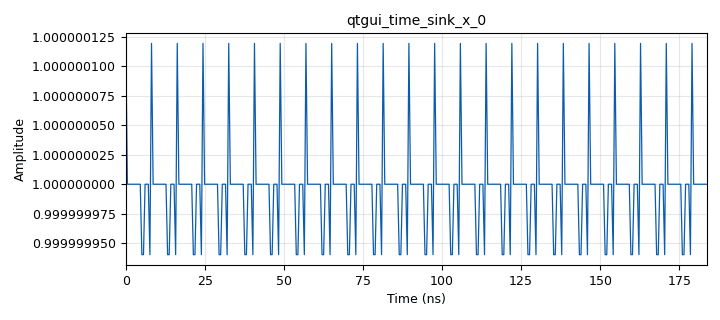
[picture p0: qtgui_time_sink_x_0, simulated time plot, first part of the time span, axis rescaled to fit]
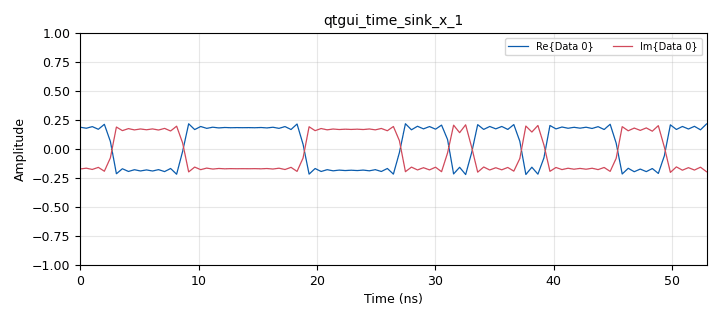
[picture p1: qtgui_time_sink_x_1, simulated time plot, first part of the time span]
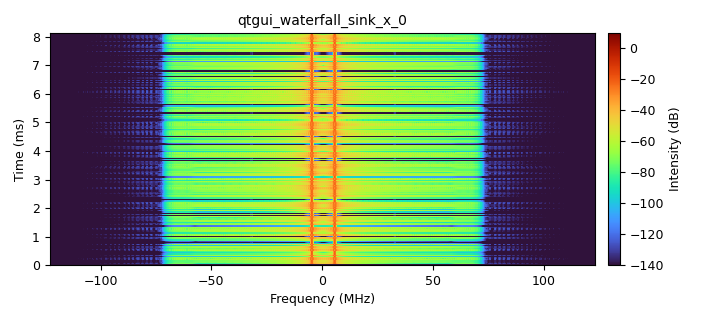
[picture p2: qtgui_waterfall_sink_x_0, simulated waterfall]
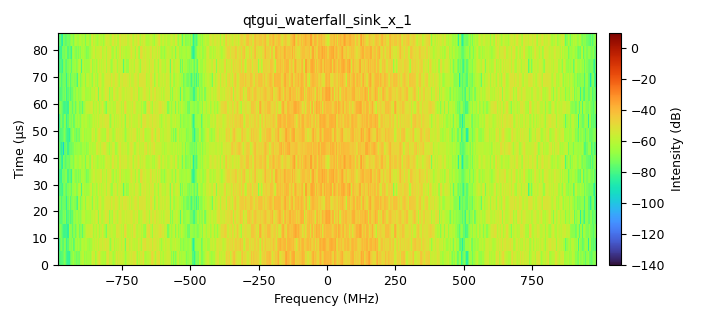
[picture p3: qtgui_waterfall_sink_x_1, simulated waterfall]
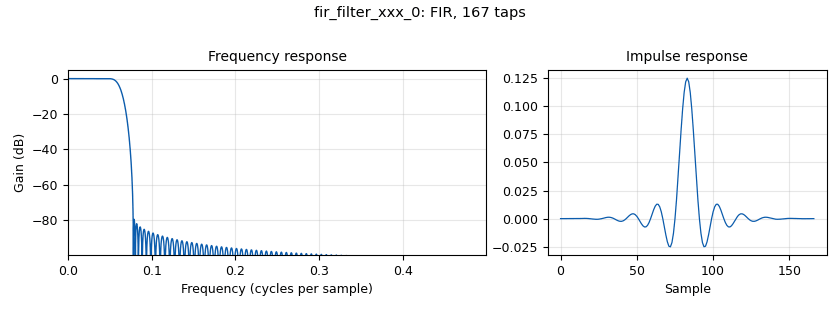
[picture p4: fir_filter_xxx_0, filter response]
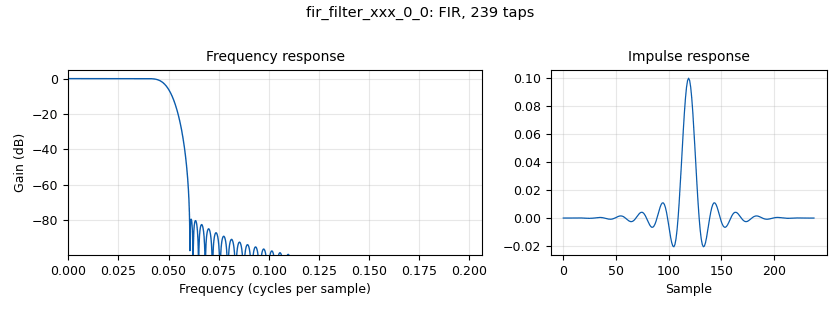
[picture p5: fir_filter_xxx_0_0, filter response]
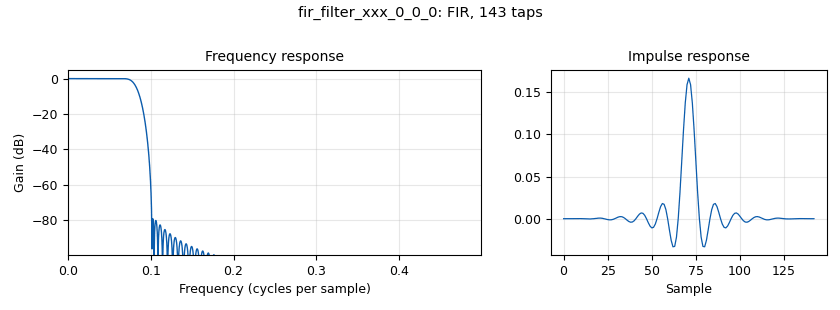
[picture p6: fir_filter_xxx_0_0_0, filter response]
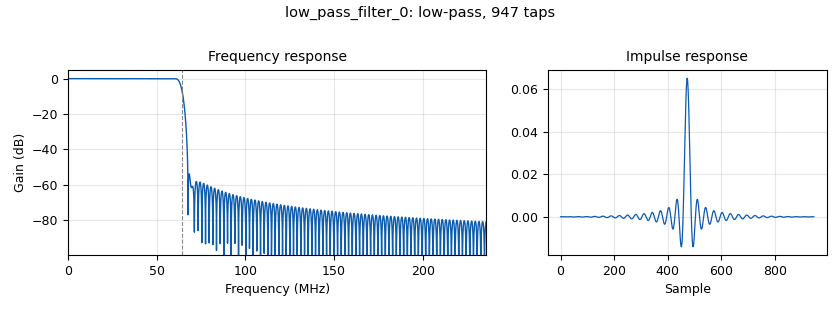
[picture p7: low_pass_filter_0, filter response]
options:
  parameters:
    generate_options: qt_gui
    id: test_filtering
    output_language: python
    title: Not titled yet
  states: {}

blocks:
- name: interpolation_factor
  id: variable
  parameters:
    value: samp_rate // 1024000
  states: {}
- name: samp_rate
  id: variable
  parameters:
    value: '1966080000'
  states: {}
- name: analog_sig_source_x_0
  id: analog_sig_source_x
  parameters:
    amp: '1'
    freq: '3700000000'
    offset: '0'
    phase: '0'
    samp_rate: samp_rate
    type: float
    waveform: analog.GR_COS_WAVE
  states: {}
- name: analog_sig_source_x_0_0
  id: analog_sig_source_x
  parameters:
    amp: '1'
    freq: '5000000'
    offset: '0'
    phase: '0'
    samp_rate: samp_rate/8
    type: float
    waveform: analog.GR_COS_WAVE
  states: {}
- name: analog_sig_source_x_0_0_0
  id: analog_sig_source_x
  parameters:
    amp: '1'
    freq: '5000000'
    offset: '0'
    phase: '0'
    samp_rate: samp_rate/8
    type: float
    waveform: analog.GR_SIN_WAVE
  states: {}
- name: analog_sig_source_x_0_1
  id: analog_sig_source_x
  parameters:
    amp: '1'
    freq: '3705000000'
    offset: '0'
    phase: '0'
    samp_rate: samp_rate
    type: float
    waveform: analog.GR_COS_WAVE
  states: {}
- name: blocks_complex_to_float_0
  id: blocks_complex_to_float
  parameters:
    vlen: '4096'
  states: {state: disabled}
- name: blocks_delay_0
  id: blocks_delay
  parameters:
    delay: '50000'
    type: float
  states: {}
- name: blocks_file_sink_0
  id: blocks_file_sink
  parameters:
    file: i_test_data
    type: float
    vlen: '4096'
  states: {state: disabled}
- name: blocks_file_sink_0_0
  id: blocks_file_sink
  parameters:
    file: q_test_data
    type: float
    vlen: '4096'
  states: {state: disabled}
- name: blocks_float_to_complex_0
  id: blocks_float_to_complex
  parameters: {}
  states: {}
- name: blocks_head_0
  id: blocks_head
  parameters:
    num_items: '3'
    type: complex
    vlen: '4096'
  states: {state: disabled}
- name: blocks_multiply_const_vxx_0
  id: blocks_multiply_const_vxx
  parameters:
    const: '-1'
    type: float
  states: {}
- name: blocks_multiply_xx_0
  id: blocks_multiply_xx
  parameters:
    type: float
  states: {}
- name: blocks_multiply_xx_0_0
  id: blocks_multiply_xx
  parameters:
    type: float
  states: {}
- name: blocks_multiply_xx_0_0_0
  id: blocks_multiply_xx
  parameters:
    type: float
  states: {}
- name: blocks_multiply_xx_0_1
  id: blocks_multiply_xx
  parameters:
    type: float
  states: {}
- name: blocks_repeat_0
  id: blocks_repeat
  parameters:
    interp: interpolation_factor
    type: float
  states: {}
- name: blocks_stream_to_vector_0
  id: blocks_stream_to_vector
  parameters:
    num_items: '4096'
    type: complex
  states: {state: disabled}
- name: blocks_vector_source_x_0
  id: blocks_vector_source_x
  parameters:
    repeat: 'True'
    type: float
    vector: |
      [-1, -1, -1, 1, -1, 1, 1, -1, 1, 1, 1, -1, 1, -1, -1, -1, -1, -1, 1, 1, 1, 1, -1, 1, 1, -1, 1, 1, 1, -1, 1, 1, 1, 1, -1, -1, 1, -1, -1, 1, 1, 1, -1, -1, 1, 1, -1, 1, 1, 1, 1, -1, 1, -1, -1, 1, -1, 1, -1, -1, 1, -1, -1, 1, 1, 1, 1, 1, 1, 1, -1, 1, -1, 1, 1, -1, 1, 1, 1, -1, 1, -1, 1, 1, 1, 1, 1, 1, 1, 1, -1, -1, 1, 1, -1, -1, 1, -1, -1, 1, -1, -1, -1, 1, 1, 1, -1, -1, -1, 1, -1, -1, 1, -1, -1, 1, 1, -1, -1, 1, 1, -1, 1, 1, -1, -1, 1, 1, -1, 1, -1, 1, 1, -1, -1, -1, 1, -1, 1, 1, 1, -1, 1, -1, -1, 1, -1, 1, 1, 1, 1, -1, 1, -1, -1, -1, 1, -1, -1, -1, -1, 1, 1, 1, 1, -1, -1, -1, 1, 1, -1, 1, 1, -1, -1, -1, -1, -1, 1, 1, 1, -1, -1, -1, 1, -1, 1, 1, 1, -1, -1, 1, -1, 1, 1, 1, -1, -1, -1, 1, 1, 1, -1, 1, -1, 1, -1, -1, 1, -1, 1, 1, 1, 1, -1, -1, -1, -1, -1, 1, -1, -1, -1, 1, 1, 1, -1, 1, 1, -1, 1, 1, 1, 1, -1, 1, 1, -1, -1, -1, 1, 1, -1, 1, -1, 1, -1, 1, 1, -1, -1, 1, -1, -1, -1, 1, 1, -1, 1, 1, 1, -1, -1, -1, -1, -1, -1, -1, -1, 1, -1, -1, 1, 1, -1, 1, 1, 1, 1, 1, -1, 1, 1, 1, 1, 1, -1, -1, 1, 1, 1, -1, 1, 1, -1, 1, 1, -1, 1, -1, -1, 1, 1, 1, 1, 1, -1, -1, -1, 1, 1, -1, -1, -1, -1, -1, -1, 1, -1, 1, 1, 1, 1, -1, -1, -1, 1, 1, 1, 1, 1, -1, -1, -1, -1, 1, 1, -1, 1, 1, -1, 1, 1, 1, -1, -1, 1, 1, -1, -1, -1, -1, 1, -1, -1, -1, -1, -1, -1, 1, -1, 1, -1, -1, -1, 1, 1, -1, 1, -1, -1, -1, -1, -1, -1, -1, 1, 1, 1, 1, 1, -1, -1, -1, -1, 1, -1, 1, -1, -1, 1, -1, -1, -1, -1, 1, -1, -1, -1, -1, -1, 1, 1, -1, -1, 1, -1, 1, -1, 1, -1, -1, 1, -1, 1, 1, 1, -1, 1, -1, -1, 1, -1, 1, -1, -1, 1, 1, -1, 1, 1, 1, -1, 1, 1, 1, 1, 1, 1, -1, 1, 1, 1, 1, 1, -1, 1, 1, -1, -1, 1, 1, 1, 1, -1, -1, -1, 1, 1, -1, -1, 1, 1, 1, -1, 1, 1, 1, 1, 1, -1, -1, 1, -1, -1, 1, -1, 1, -1, 1, 1, -1, -1, 1, 1, 1, -1, -1, 1, 1, -1, 1, 1, -1, 1, 1, 1, -1, -1, -1, -1, 1, 1, -1, -1, 1, -1, 1, -1, -1, 1, -1, 1, 1, -1, 1, 1, -1, 1, 1, -1, 1, -1, -1, -1, -1, -1, -1, -1, 1, 1, -1, -1, 1, 1, 1, -1, -1, 1, -1, 1, 1, -1, -1, -1, -1, -1, -1, -1, -1, 1, -1, -1, 1, -1, -1, 1, 1, -1, -1, 1, -1, 1, 1, 1, -1, 1, 1, 1, 1, 1, 1, 1, 1, -1, 1, -1, 1, 1, -1, -1, 1, -1, -1, -1, -1, -1, 1, 1, 1, -1, -1, 1, -1, -1, 1, -1, -1, -1, -1, -1, 1, 1, 1, 1, -1, -1, 1, 1, 1, 1, -1, 1, -1, -1, -1, -1, -1, -1, -1, 1, -1, 1, -1, -1, -1, -1, 1, -1, -1, 1, 1, -1, -1, 1, 1, -1, 1, -1, 1, 1, -1, -1, -1, -1, -1, 1, -1, 1, -1, -1, 1, 1, -1, 1, 1, 1, 1, -1, 1, -1, 1, 1, 1, -1, 1, 1, -1, 1, 1, -1, -1, -1, -1, -1, -1, 1, 1, -1, 1, -1, -1, -1, 1, -1, 1, 1, -1, -1, 1, -1, -1, 1, -1, -1, 1, 1, 1, 1, 1, 1, 1, 1, 1, 1, -1, -1, -1, -1, 1, 1, 1, -1, 1, 1, -1, 1, 1, 1, -1, -1, 1, 1, -1, 1, 1, 1, 1, 1, 1, -1, -1, -1, 1, -1, 1, -1, -1, -1, -1, -1, 1, -1, -1, 1, 1, -1, 1, 1, -1, 1, -1, 1, 1, 1, 1, 1, 1, -1, 1, 1, -1, -1, 1, -1, -1, -1, -1, -1, -1, 1, -1, -1, 1, 1, -1, 1, -1, -1, 1, -1, 1, -1, -1, -1, -1, -1, -1, -1, 1, 1, 1, 1, -1, -1, -1, -1, 1, 1, -1, 1, 1, 1, -1, 1, 1, -1, 1, 1, 1, 1, -1, -1, 1, -1, -1, -1, 1, 1, -1, 1, -1, -1, -1, 1, 1, 1, 1, 1, -1, 1, 1, 1, 1, 1, 1, -1, -1, 1, 1, -1, 1, -1, 1, 1, 1, 1, -1, 1, 1, 1, 1, -1, -1, 1, -1, 1, 1, 1, -1, 1, 1, -1, -1, 1, -1, 1, 1, -1, 1, 1, 1, 1, -1, -1, -1, 1, 1, -1, -1, 1, 1, -1, 1, -1, -1, 1, -1, 1, 1, -1, 1, -1, -1, -1, 1, -1, 1, -1, 1, -1, -1, 1, -1, -1, 1, -1, 1, -1, 1, -1, -1, -1, -1, 1, -1, -1, 1, 1, -1, -1, 1, 1, 1, -1, 1, -1, 1, -1, -1, -1, 1, 1, -1, 1, 1, -1, -1, -1, -1, 1, 1, -1, 1, 1, -1, -1, 1, 1, 1, 1, -1, 1, -1, -1, -1, 1, 1, -1, 1, -1, 1, -1, -1, -1, 1, -1, 1, 1, -1, -1, 1, -1, -1, -1, -1, -1, -1, -1, -1, 1, 1, -1, 1, 1, 1, -1, 1, -1, -1, -1, 1, 1, -1, -1, 1, 1, -1, -1, 1, 1, 1, -1, -1, -1, 1, -1, -1, 1, 1, -1, -1, -1, 1, -1, -1, -1, 1, -1, 1, -1, 1, -1]
  states: {}
- name: fft_vxx_0
  id: fft_vxx
  parameters:
    fft_size: '4096'
    forward: 'True'
    shift: 'True'
    type: complex
    window: window.blackmanharris(4096)
  states: {state: disabled}
- name: fir_filter_xxx_0
  id: fir_filter_xxx
  parameters:
    decim: '8'
    taps: " [9.49889021e-06,  1.03383495e-05,  7.58177160e-06,\n        -3.17864516e-20, -1.26888383e-05, -2.93671118e-05,\n        -4.73005830e-05, -6.22848169e-05, -6.92244940e-05,\n        -6.31239657e-05, -4.03593638e-05,  1.36303765e-19,\n         5.51245288e-05,  1.17931368e-04,  1.77430747e-04,\n         2.20048546e-04,  2.31873646e-04,  2.01560110e-04,\n         1.23407922e-04, -3.56128437e-19, -1.56268583e-04,\n        -3.23341113e-04, -4.71669050e-04, -5.68390383e-04,\n        -5.83088897e-04, -4.94297704e-04, -2.95595024e-04,\n         7.30034939e-19,  3.58529515e-04,  7.27344718e-04,\n         1.04136627e-03,  1.23289059e-03,  1.24370707e-03,\n         1.03763387e-03,  6.11178236e-04, -1.27527875e-18,\n        -7.20733813e-04, -1.44317978e-03, -2.04074430e-03,\n        -2.38768775e-03, -2.38172653e-03, -1.96599818e-03,\n        -1.14632930e-03,  1.97423867e-18,  1.32682113e-03,\n         2.63417169e-03,  3.69505708e-03,  4.29083059e-03,\n         4.25020897e-03,  3.48563261e-03,  2.02030658e-03,\n        -2.76848035e-18, -2.31445923e-03, -4.57527020e-03,\n        -6.39425910e-03, -7.40253983e-03, -7.31491752e-03,\n        -5.98891968e-03, -3.46802129e-03,  3.56385918e-18,\n         3.97563977e-03,  7.87292944e-03,  1.10341087e-02,\n         1.28254153e-02,  1.27415099e-02,  1.05034271e-02,\n         6.13442967e-03, -4.24696248e-18, -7.19768172e-03,\n        -1.44745008e-02, -2.06652012e-02, -2.45600204e-02,\n        -2.50610191e-02, -2.13379741e-02, -1.29624024e-02,\n         4.70933148e-18,  1.69535859e-02,  3.68017265e-02,\n         5.80401381e-02,  7.89054427e-02,  9.75620567e-02,\n         1.12304839e-01,  1.21752223e-01,  1.25005279e-01,\n         1.21752223e-01,  1.12304839e-01,  9.75620567e-02,\n         7.89054427e-02,  5.80401381e-02,  3.68017265e-02,\n         1.69535859e-02,  4.70933148e-18, -1.29624024e-02,\n        -2.13379741e-02, -2.50610191e-02, -2.45600204e-02,\n        -2.06652012e-02, -1.44745008e-02, -7.19768172e-03,\n        -4.24696248e-18,  6.13442967e-03,  1.05034271e-02,\n         1.27415099e-02,  1.28254153e-02,  1.10341087e-02,\n         7.87292944e-03,  3.97563977e-03,  3.56385918e-18,\n        -3.46802129e-03, -5.98891968e-03, -7.31491752e-03,\n        -7.40253983e-03, -6.39425910e-03, -4.57527020e-03,\n        -2.31445923e-03, -2.76848035e-18,  2.02030658e-03,\n         3.48563261e-03,  4.25020897e-03,  4.29083059e-03,\n         3.69505708e-03,  2.63417169e-03,  1.32682113e-03,\n         1.97423867e-18, -1.14632930e-03, -1.96599818e-03,\n        -2.38172653e-03, -2.38768775e-03, -2.04074430e-03,\n        -1.44317978e-03, -7.20733813e-04, -1.27527875e-18,\n         6.11178236e-04,  1.03763387e-03,  1.24370707e-03,\n         1.23289059e-03,  1.04136627e-03,  7.27344718e-04,\n         3.58529515e-04,  7.30034939e-19, -2.95595024e-04,\n        -4.94297704e-04, -5.83088897e-04, -5.68390383e-04,\n        -4.71669050e-04, -3.23341113e-04, -1.56268583e-04,\n        -3.56128437e-19,  1.23407922e-04,  2.01560110e-04,\n         2.31873646e-04,  2.20048546e-04,  1.77430747e-04,\n         1.17931368e-04,  5.51245288e-05,  1.36303765e-19,\n        -4.03593638e-05, -6.31239657e-05, -6.92244940e-05,\n        -6.22848169e-05, -4.73005830e-05, -2.93671118e-05,\n        -1.26888383e-05, -3.17864516e-20,  7.58177160e-06,\n         1.03383495e-05,  9.49889021e-06]"
    type: fff
  states: {}
- name: fir_filter_xxx_0_0
  id: fir_filter_xxx
  parameters:
    decim: '10'
    taps: |-
      [-2.21595576e-06, -5.42064383e-06, -9.34629496e-06,
              -1.34910721e-05, -1.71442015e-05, -1.94531899e-05,
              -1.95311881e-05, -1.65957434e-05, -1.01235121e-05,
               1.84967063e-19,  1.33598816e-05,  2.89448722e-05,
               4.51550627e-05,  5.98981689e-05,  7.07779380e-05,
               7.53655741e-05,  7.15315430e-05,  5.78025205e-05,
               3.36985013e-05, -1.47685266e-19, -4.11037363e-05,
              -8.60267091e-05, -1.29984840e-04, -1.67387229e-04,
              -1.92401317e-04, -1.99647401e-04, -1.84953999e-04,
              -1.46087047e-04, -8.33558775e-05,  3.22162463e-19,
               9.77257687e-05,  2.00824376e-04,  2.98207613e-04,
               3.77700731e-04,  4.27328807e-04,  4.36768375e-04,
               3.98811523e-04,  3.10667460e-04,  1.74922865e-04,
              -5.93320870e-19, -2.00009027e-04, -4.06194369e-04,
              -5.96355604e-04, -7.47111069e-04, -8.36416206e-04,
              -8.46248457e-04, -7.65167449e-04, -5.90439122e-04,
              -3.29426459e-04,  9.69121292e-19,  3.70193881e-04,
               7.45655839e-04,  1.08606534e-03,  1.35020322e-03,
               1.50042147e-03,  1.50721718e-03,  1.35340836e-03,
               1.03740086e-03,  5.75084211e-04, -1.44113997e-18,
              -6.38417149e-04, -1.27853142e-03, -1.85192169e-03,
              -2.29010068e-03, -2.53193129e-03, -2.53099765e-03,
              -2.26212161e-03, -1.72623118e-03, -9.52891703e-04,
               1.98194664e-18,  1.04959729e-03,  2.09448934e-03,
               3.02368849e-03,  3.72750064e-03,  4.10929335e-03,
               4.09699185e-03,  3.65305828e-03,  2.78175982e-03,
               1.53271360e-03, -2.54634687e-18, -1.68346077e-03,
              -3.35610459e-03, -4.84183852e-03, -5.96696011e-03,
              -6.57838330e-03, -6.56141445e-03, -5.85522269e-03,
              -4.46423115e-03, -2.46392349e-03,  3.07679072e-18,
               2.71960348e-03,  5.43965134e-03,  7.87861712e-03,
               9.75422339e-03,  1.08114149e-02,  1.08502795e-02,
               9.75125753e-03,  7.49505133e-03,  4.17497003e-03,
              -3.51218800e-18, -4.71235686e-03, -9.55355279e-03,
              -1.40509099e-02, -1.77022129e-02, -2.00154198e-02,
              -2.05503378e-02, -1.89587768e-02, -1.50196582e-02,
              -8.66584054e-03,  3.79841664e-18,  1.07022512e-02,
               2.30028026e-02,  3.63246999e-02,  4.99875470e-02,
               6.32521509e-02,  7.53710675e-02,  8.56411375e-02,
               9.34538641e-02,  9.83395949e-02,  1.00001936e-01,
               9.83395949e-02,  9.34538641e-02,  8.56411375e-02,
               7.53710675e-02,  6.32521509e-02,  4.99875470e-02,
               3.63246999e-02,  2.30028026e-02,  1.07022512e-02,
               3.79841664e-18, -8.66584054e-03, -1.50196582e-02,
              -1.89587768e-02, -2.05503378e-02, -2.00154198e-02,
              -1.77022129e-02, -1.40509099e-02, -9.55355279e-03,
              -4.71235686e-03, -3.51218800e-18,  4.17497003e-03,
               7.49505133e-03,  9.75125753e-03,  1.08502795e-02,
               1.08114149e-02,  9.75422339e-03,  7.87861712e-03,
               5.43965134e-03,  2.71960348e-03,  3.07679072e-18,
              -2.46392349e-03, -4.46423115e-03, -5.85522269e-03,
              -6.56141445e-03, -6.57838330e-03, -5.96696011e-03,
              -4.84183852e-03, -3.35610459e-03, -1.68346077e-03,
              -2.54634687e-18,  1.53271360e-03,  2.78175982e-03,
               3.65305828e-03,  4.09699185e-03,  4.10929335e-03,
               3.72750064e-03,  3.02368849e-03,  2.09448934e-03,
               1.04959729e-03,  1.98194664e-18, -9.52891703e-04,
              -1.72623118e-03, -2.26212161e-03, -2.53099765e-03,
              -2.53193129e-03, -2.29010068e-03, -1.85192169e-03,
              -1.27853142e-03, -6.38417149e-04, -1.44113997e-18,
               5.75084211e-04,  1.03740086e-03,  1.35340836e-03,
               1.50721718e-03,  1.50042147e-03,  1.35020322e-03,
               1.08606534e-03,  7.45655839e-04,  3.70193881e-04,
               9.69121292e-19, -3.29426459e-04, -5.90439122e-04,
              -7.65167449e-04, -8.46248457e-04, -8.36416206e-04,
              -7.47111069e-04, -5.96355604e-04, -4.06194369e-04,
              -2.00009027e-04, -5.93320870e-19,  1.74922865e-04,
               3.10667460e-04,  3.98811523e-04,  4.36768375e-04,
               4.27328807e-04,  3.77700731e-04,  2.98207613e-04,
               2.00824376e-04,  9.77257687e-05,  3.22162463e-19,
              -8.33558775e-05, -1.46087047e-04, -1.84953999e-04,
              -1.99647401e-04, -1.92401317e-04, -1.67387229e-04,
              -1.29984840e-04, -8.60267091e-05, -4.11037363e-05,
              -1.47685266e-19,  3.36985013e-05,  5.78025205e-05,
               7.15315430e-05,  7.53655741e-05,  7.07779380e-05,
               5.98981689e-05,  4.51550627e-05,  2.89448722e-05,
               1.33598816e-05,  1.84967063e-19, -1.01235121e-05,
              -1.65957434e-05, -1.95311881e-05, -1.94531899e-05,
              -1.71442015e-05, -1.34910721e-05, -9.34629496e-06,
              -5.42064383e-06, -2.21595576e-06]
    type: fff
  states: {}
- name: fir_filter_xxx_0_0_0
  id: fir_filter_xxx
  parameters:
    decim: '6'
    taps: |-
      [-6.00944756e-06, -1.56264496e-05, -2.54570081e-05,
              -2.98324609e-05, -2.26099147e-05,  2.84158774e-19,
               3.65024236e-05,  7.83801618e-05,  1.10764985e-04,
               1.16107327e-04,  8.03610345e-05, -2.33963161e-19,
              -1.12689701e-04, -2.28702509e-04, -3.07533978e-04,
              -3.08417800e-04, -2.05144597e-04,  5.18520614e-19,
               2.68534641e-04,  5.28821747e-04,  6.91637229e-04,
               6.76033201e-04,  4.39059293e-04, -9.64750320e-19,
              -5.50517214e-04, -1.06320843e-03, -1.36534787e-03,
              -1.31178278e-03, -8.38265091e-04,  1.58726198e-18,
               1.02032732e-03,  1.94393641e-03,  2.46452966e-03,
               2.33934864e-03,  1.47794354e-03, -2.37307449e-18,
              -1.76182449e-03, -3.32500531e-03, -4.17830667e-03,
              -3.93353766e-03, -2.46623156e-03,  3.27688263e-18,
               2.90080862e-03,  5.44316575e-03,  6.80531464e-03,
               6.37848372e-03,  3.98443447e-03, -4.22292584e-18,
              -4.66299909e-03, -8.73903212e-03, -1.09229838e-02,
              -1.02458690e-02, -6.41273506e-03,  5.11404509e-18,
               7.56503656e-03,  1.42691993e-02,  1.79852826e-02,
               1.70512931e-02,  1.08158284e-02, -5.84666882e-18,
              -1.32429278e-02, -2.56236755e-02, -3.33366957e-02,
              -3.28861921e-02, -2.19386285e-02,  6.32879520e-18,
               3.12569825e-02,  6.81187892e-02,  1.05411856e-01,
               1.37433376e-01,  1.59041240e-01,  1.66668824e-01,
               1.59041240e-01,  1.37433376e-01,  1.05411856e-01,
               6.81187892e-02,  3.12569825e-02,  6.32879520e-18,
              -2.19386285e-02, -3.28861921e-02, -3.33366957e-02,
              -2.56236755e-02, -1.32429278e-02, -5.84666882e-18,
               1.08158284e-02,  1.70512931e-02,  1.79852826e-02,
               1.42691993e-02,  7.56503656e-03,  5.11404509e-18,
              -6.41273506e-03, -1.02458690e-02, -1.09229838e-02,
              -8.73903212e-03, -4.66299909e-03, -4.22292584e-18,
               3.98443447e-03,  6.37848372e-03,  6.80531464e-03,
               5.44316575e-03,  2.90080862e-03,  3.27688263e-18,
              -2.46623156e-03, -3.93353766e-03, -4.17830667e-03,
              -3.32500531e-03, -1.76182449e-03, -2.37307449e-18,
               1.47794354e-03,  2.33934864e-03,  2.46452966e-03,
               1.94393641e-03,  1.02032732e-03,  1.58726198e-18,
              -8.38265091e-04, -1.31178278e-03, -1.36534787e-03,
              -1.06320843e-03, -5.50517214e-04, -9.64750320e-19,
               4.39059293e-04,  6.76033201e-04,  6.91637229e-04,
               5.28821747e-04,  2.68534641e-04,  5.18520614e-19,
              -2.05144597e-04, -3.08417800e-04, -3.07533978e-04,
              -2.28702509e-04, -1.12689701e-04, -2.33963161e-19,
               8.03610345e-05,  1.16107327e-04,  1.10764985e-04,
               7.83801618e-05,  3.65024236e-05,  2.84158774e-19,
              -2.26099147e-05, -2.98324609e-05, -2.54570081e-05,
              -1.56264496e-05, -6.00944756e-06]
    type: fff
  states: {}
- name: fir_filter_xxx_0_0_0_0
  id: fir_filter_xxx
  parameters:
    decim: '6'
    taps: |-
      [-6.00944756e-06, -1.56264496e-05, -2.54570081e-05,
              -2.98324609e-05, -2.26099147e-05,  2.84158774e-19,
               3.65024236e-05,  7.83801618e-05,  1.10764985e-04,
               1.16107327e-04,  8.03610345e-05, -2.33963161e-19,
              -1.12689701e-04, -2.28702509e-04, -3.07533978e-04,
              -3.08417800e-04, -2.05144597e-04,  5.18520614e-19,
               2.68534641e-04,  5.28821747e-04,  6.91637229e-04,
               6.76033201e-04,  4.39059293e-04, -9.64750320e-19,
              -5.50517214e-04, -1.06320843e-03, -1.36534787e-03,
              -1.31178278e-03, -8.38265091e-04,  1.58726198e-18,
               1.02032732e-03,  1.94393641e-03,  2.46452966e-03,
               2.33934864e-03,  1.47794354e-03, -2.37307449e-18,
              -1.76182449e-03, -3.32500531e-03, -4.17830667e-03,
              -3.93353766e-03, -2.46623156e-03,  3.27688263e-18,
               2.90080862e-03,  5.44316575e-03,  6.80531464e-03,
               6.37848372e-03,  3.98443447e-03, -4.22292584e-18,
              -4.66299909e-03, -8.73903212e-03, -1.09229838e-02,
              -1.02458690e-02, -6.41273506e-03,  5.11404509e-18,
               7.56503656e-03,  1.42691993e-02,  1.79852826e-02,
               1.70512931e-02,  1.08158284e-02, -5.84666882e-18,
              -1.32429278e-02, -2.56236755e-02, -3.33366957e-02,
              -3.28861921e-02, -2.19386285e-02,  6.32879520e-18,
               3.12569825e-02,  6.81187892e-02,  1.05411856e-01,
               1.37433376e-01,  1.59041240e-01,  1.66668824e-01,
               1.59041240e-01,  1.37433376e-01,  1.05411856e-01,
               6.81187892e-02,  3.12569825e-02,  6.32879520e-18,
              -2.19386285e-02, -3.28861921e-02, -3.33366957e-02,
              -2.56236755e-02, -1.32429278e-02, -5.84666882e-18,
               1.08158284e-02,  1.70512931e-02,  1.79852826e-02,
               1.42691993e-02,  7.56503656e-03,  5.11404509e-18,
              -6.41273506e-03, -1.02458690e-02, -1.09229838e-02,
              -8.73903212e-03, -4.66299909e-03, -4.22292584e-18,
               3.98443447e-03,  6.37848372e-03,  6.80531464e-03,
               5.44316575e-03,  2.90080862e-03,  3.27688263e-18,
              -2.46623156e-03, -3.93353766e-03, -4.17830667e-03,
              -3.32500531e-03, -1.76182449e-03, -2.37307449e-18,
               1.47794354e-03,  2.33934864e-03,  2.46452966e-03,
               1.94393641e-03,  1.02032732e-03,  1.58726198e-18,
              -8.38265091e-04, -1.31178278e-03, -1.36534787e-03,
              -1.06320843e-03, -5.50517214e-04, -9.64750320e-19,
               4.39059293e-04,  6.76033201e-04,  6.91637229e-04,
               5.28821747e-04,  2.68534641e-04,  5.18520614e-19,
              -2.05144597e-04, -3.08417800e-04, -3.07533978e-04,
              -2.28702509e-04, -1.12689701e-04, -2.33963161e-19,
               8.03610345e-05,  1.16107327e-04,  1.10764985e-04,
               7.83801618e-05,  3.65024236e-05,  2.84158774e-19,
              -2.26099147e-05, -2.98324609e-05, -2.54570081e-05,
              -1.56264496e-05, -6.00944756e-06]
    type: fff
  states: {}
- name: fir_filter_xxx_0_0_1
  id: fir_filter_xxx
  parameters:
    decim: '10'
    taps: |-
      [-2.21595576e-06, -5.42064383e-06, -9.34629496e-06,
              -1.34910721e-05, -1.71442015e-05, -1.94531899e-05,
              -1.95311881e-05, -1.65957434e-05, -1.01235121e-05,
               1.84967063e-19,  1.33598816e-05,  2.89448722e-05,
               4.51550627e-05,  5.98981689e-05,  7.07779380e-05,
               7.53655741e-05,  7.15315430e-05,  5.78025205e-05,
               3.36985013e-05, -1.47685266e-19, -4.11037363e-05,
              -8.60267091e-05, -1.29984840e-04, -1.67387229e-04,
              -1.92401317e-04, -1.99647401e-04, -1.84953999e-04,
              -1.46087047e-04, -8.33558775e-05,  3.22162463e-19,
               9.77257687e-05,  2.00824376e-04,  2.98207613e-04,
               3.77700731e-04,  4.27328807e-04,  4.36768375e-04,
               3.98811523e-04,  3.10667460e-04,  1.74922865e-04,
              -5.93320870e-19, -2.00009027e-04, -4.06194369e-04,
              -5.96355604e-04, -7.47111069e-04, -8.36416206e-04,
              -8.46248457e-04, -7.65167449e-04, -5.90439122e-04,
              -3.29426459e-04,  9.69121292e-19,  3.70193881e-04,
               7.45655839e-04,  1.08606534e-03,  1.35020322e-03,
               1.50042147e-03,  1.50721718e-03,  1.35340836e-03,
               1.03740086e-03,  5.75084211e-04, -1.44113997e-18,
              -6.38417149e-04, -1.27853142e-03, -1.85192169e-03,
              -2.29010068e-03, -2.53193129e-03, -2.53099765e-03,
              -2.26212161e-03, -1.72623118e-03, -9.52891703e-04,
               1.98194664e-18,  1.04959729e-03,  2.09448934e-03,
               3.02368849e-03,  3.72750064e-03,  4.10929335e-03,
               4.09699185e-03,  3.65305828e-03,  2.78175982e-03,
               1.53271360e-03, -2.54634687e-18, -1.68346077e-03,
              -3.35610459e-03, -4.84183852e-03, -5.96696011e-03,
              -6.57838330e-03, -6.56141445e-03, -5.85522269e-03,
              -4.46423115e-03, -2.46392349e-03,  3.07679072e-18,
               2.71960348e-03,  5.43965134e-03,  7.87861712e-03,
               9.75422339e-03,  1.08114149e-02,  1.08502795e-02,
               9.75125753e-03,  7.49505133e-03,  4.17497003e-03,
              -3.51218800e-18, -4.71235686e-03, -9.55355279e-03,
              -1.40509099e-02, -1.77022129e-02, -2.00154198e-02,
              -2.05503378e-02, -1.89587768e-02, -1.50196582e-02,
              -8.66584054e-03,  3.79841664e-18,  1.07022512e-02,
               2.30028026e-02,  3.63246999e-02,  4.99875470e-02,
               6.32521509e-02,  7.53710675e-02,  8.56411375e-02,
               9.34538641e-02,  9.83395949e-02,  1.00001936e-01,
               9.83395949e-02,  9.34538641e-02,  8.56411375e-02,
               7.53710675e-02,  6.32521509e-02,  4.99875470e-02,
               3.63246999e-02,  2.30028026e-02,  1.07022512e-02,
               3.79841664e-18, -8.66584054e-03, -1.50196582e-02,
              -1.89587768e-02, -2.05503378e-02, -2.00154198e-02,
              -1.77022129e-02, -1.40509099e-02, -9.55355279e-03,
              -4.71235686e-03, -3.51218800e-18,  4.17497003e-03,
               7.49505133e-03,  9.75125753e-03,  1.08502795e-02,
               1.08114149e-02,  9.75422339e-03,  7.87861712e-03,
               5.43965134e-03,  2.71960348e-03,  3.07679072e-18,
              -2.46392349e-03, -4.46423115e-03, -5.85522269e-03,
              -6.56141445e-03, -6.57838330e-03, -5.96696011e-03,
              -4.84183852e-03, -3.35610459e-03, -1.68346077e-03,
              -2.54634687e-18,  1.53271360e-03,  2.78175982e-03,
               3.65305828e-03,  4.09699185e-03,  4.10929335e-03,
               3.72750064e-03,  3.02368849e-03,  2.09448934e-03,
               1.04959729e-03,  1.98194664e-18, -9.52891703e-04,
              -1.72623118e-03, -2.26212161e-03, -2.53099765e-03,
              -2.53193129e-03, -2.29010068e-03, -1.85192169e-03,
              -1.27853142e-03, -6.38417149e-04, -1.44113997e-18,
               5.75084211e-04,  1.03740086e-03,  1.35340836e-03,
               1.50721718e-03,  1.50042147e-03,  1.35020322e-03,
               1.08606534e-03,  7.45655839e-04,  3.70193881e-04,
               9.69121292e-19, -3.29426459e-04, -5.90439122e-04,
              -7.65167449e-04, -8.46248457e-04, -8.36416206e-04,
              -7.47111069e-04, -5.96355604e-04, -4.06194369e-04,
              -2.00009027e-04, -5.93320870e-19,  1.74922865e-04,
               3.10667460e-04,  3.98811523e-04,  4.36768375e-04,
               4.27328807e-04,  3.77700731e-04,  2.98207613e-04,
               2.00824376e-04,  9.77257687e-05,  3.22162463e-19,
              -8.33558775e-05, -1.46087047e-04, -1.84953999e-04,
              -1.99647401e-04, -1.92401317e-04, -1.67387229e-04,
              -1.29984840e-04, -8.60267091e-05, -4.11037363e-05,
              -1.47685266e-19,  3.36985013e-05,  5.78025205e-05,
               7.15315430e-05,  7.53655741e-05,  7.07779380e-05,
               5.98981689e-05,  4.51550627e-05,  2.89448722e-05,
               1.33598816e-05,  1.84967063e-19, -1.01235121e-05,
              -1.65957434e-05, -1.95311881e-05, -1.94531899e-05,
              -1.71442015e-05, -1.34910721e-05, -9.34629496e-06,
              -5.42064383e-06, -2.21595576e-06]
    type: fff
  states: {}
- name: low_pass_filter_0
  id: low_pass_filter
  parameters:
    cutoff_freq: '64000000'
    decim: '1'
    gain: '1'
    samp_rate: samp_rate
    type: fir_filter_fff
    width: '5000000'
    win: window.WIN_HAMMING
  states: {}
- name: qtgui_time_sink_x_0
  id: qtgui_time_sink_x
  parameters:
    size: '1024'
    srate: samp_rate
    type: float
  states: {}
- name: qtgui_time_sink_x_1
  id: qtgui_time_sink_x
  parameters:
    size: '1024'
    srate: samp_rate
    type: complex
  states: {}
- name: qtgui_waterfall_sink_x_0
  id: qtgui_waterfall_sink_x
  parameters:
    bw: samp_rate/8
    fc: '0'
    fftsize: '1024'
    type: float
  states: {}
- name: qtgui_waterfall_sink_x_1
  id: qtgui_waterfall_sink_x
  parameters:
    bw: samp_rate
    fc: '0'
    fftsize: '1024'
    type: complex
  states: {}

connections:
- [analog_sig_source_x_0, '0', blocks_multiply_xx_0, '1']
- [analog_sig_source_x_0_0, '0', blocks_multiply_xx_0_0, '0']
- [analog_sig_source_x_0_0_0, '0', blocks_multiply_const_vxx_0, '0']
- [analog_sig_source_x_0_1, '0', blocks_multiply_xx_0_1, '1']
- [blocks_complex_to_float_0, '0', blocks_file_sink_0, '0']
- [blocks_complex_to_float_0, '1', blocks_file_sink_0_0, '0']
- [blocks_delay_0, '0', low_pass_filter_0, '0']
- [blocks_float_to_complex_0, '0', blocks_stream_to_vector_0, '0']
- [blocks_float_to_complex_0, '0', qtgui_time_sink_x_1, '0']
- [blocks_float_to_complex_0, '0', qtgui_waterfall_sink_x_1, '0']
- [blocks_head_0, '0', blocks_complex_to_float_0, '0']
- [blocks_multiply_const_vxx_0, '0', blocks_multiply_xx_0_0_0, '1']
- [blocks_multiply_xx_0, '0', blocks_multiply_xx_0_1, '0']
- [blocks_multiply_xx_0_0, '0', fir_filter_xxx_0_0_1, '0']
- [blocks_multiply_xx_0_0_0, '0', fir_filter_xxx_0_0, '0']
- [blocks_multiply_xx_0_1, '0', fir_filter_xxx_0, '0']
- [blocks_repeat_0, '0', blocks_delay_0, '0']
- [blocks_stream_to_vector_0, '0', fft_vxx_0, '0']
- [blocks_vector_source_x_0, '0', blocks_repeat_0, '0']
- [fft_vxx_0, '0', blocks_head_0, '0']
- [fir_filter_xxx_0, '0', blocks_multiply_xx_0_0, '1']
- [fir_filter_xxx_0, '0', blocks_multiply_xx_0_0_0, '0']
- [fir_filter_xxx_0, '0', qtgui_waterfall_sink_x_0, '0']
- [fir_filter_xxx_0_0, '0', fir_filter_xxx_0_0_0_0, '0']
- [fir_filter_xxx_0_0_0, '0', blocks_float_to_complex_0, '0']
- [fir_filter_xxx_0_0_0_0, '0', blocks_float_to_complex_0, '1']
- [fir_filter_xxx_0_0_1, '0', fir_filter_xxx_0_0_0, '0']
- [low_pass_filter_0, '0', blocks_multiply_xx_0, '0']
- [low_pass_filter_0, '0', qtgui_time_sink_x_0, '0']

metadata:
  file_format: 1
  grc_version: 3.10.12.0
